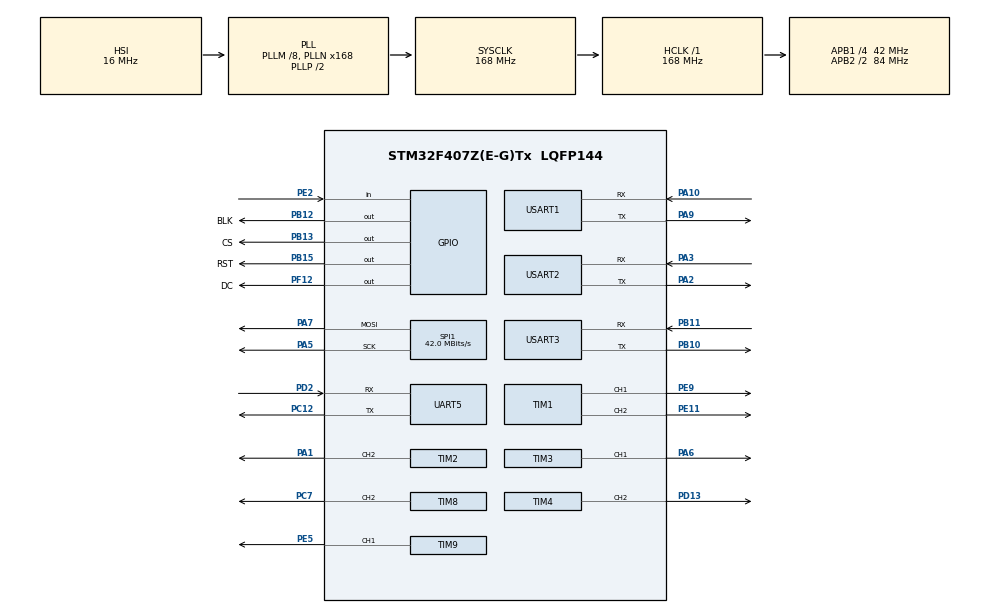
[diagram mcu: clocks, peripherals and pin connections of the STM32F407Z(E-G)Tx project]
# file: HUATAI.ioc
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Dma.Request0=USART1_RX
Dma.Request1=USART1_TX
Dma.USART1_RX.0.Direction=DMA_PERIPH_TO_MEMORY
Dma.USART1_RX.0.FIFOMode=DMA_FIFOMODE_DISABLE
Dma.USART1_RX.0.Instance=DMA2_Stream2
Dma.USART1_RX.0.MemDataAlignment=DMA_MDATAALIGN_BYTE
Dma.USART1_RX.0.MemInc=DMA_MINC_ENABLE
Dma.USART1_RX.0.Mode=DMA_NORMAL
Dma.USART1_RX.0.PeriphDataAlignment=DMA_PDATAALIGN_BYTE
Dma.USART1_RX.0.PeriphInc=DMA_PINC_DISABLE
Dma.USART1_RX.0.Priority=DMA_PRIORITY_HIGH
Dma.USART1_TX.1.Direction=DMA_MEMORY_TO_PERIPH
Dma.USART1_TX.1.FIFOMode=DMA_FIFOMODE_DISABLE
Dma.USART1_TX.1.Instance=DMA2_Stream7
Dma.USART1_TX.1.MemDataAlignment=DMA_MDATAALIGN_BYTE
Dma.USART1_TX.1.MemInc=DMA_MINC_ENABLE
Dma.USART1_TX.1.Mode=DMA_NORMAL
Dma.USART1_TX.1.PeriphDataAlignment=DMA_PDATAALIGN_BYTE
Dma.USART1_TX.1.PeriphInc=DMA_PINC_DISABLE
Dma.USART1_TX.1.Priority=DMA_PRIORITY_HIGH
Mcu.Family=STM32F4
Mcu.Name=STM32F407Z(E-G)Tx
Mcu.Package=LQFP144
NVIC.DMA2_Stream2_IRQn=true\:0\:0\:false\:false\:true\:false\:true\:true
NVIC.DMA2_Stream7_IRQn=true\:0\:0\:false\:false\:true\:false\:true\:true
NVIC.PriorityGroup=NVIC_PRIORITYGROUP_4
NVIC.TIM8_UP_TIM13_IRQn=true\:0\:0\:false\:false\:true\:true\:true\:true
NVIC.USART1_IRQn=true\:0\:0\:false\:false\:true\:true\:true\:true
PA1.Signal=S_TIM2_CH2
PA10.Mode=Asynchronous
PA10.Signal=USART1_RX
PA13.Mode=Serial_Wire
PA13.Signal=SYS_JTMS-SWDIO
PA14.Mode=Serial_Wire
PA14.Signal=SYS_JTCK-SWCLK
PA2.Mode=Asynchronous
PA2.Signal=USART2_TX
PA3.Mode=Asynchronous
PA3.Signal=USART2_RX
PA5.Mode=TX_Only_Simplex_Unidirect_Master
PA5.Signal=SPI1_SCK
PA6.Signal=S_TIM3_CH1
PA7.Mode=TX_Only_Simplex_Unidirect_Master
PA7.Signal=SPI1_MOSI
PA9.Mode=Asynchronous
PA9.Signal=USART1_TX
PB10.Mode=Asynchronous
PB10.Signal=USART3_TX
PB11.Mode=Asynchronous
PB11.Signal=USART3_RX
PB12.GPIO_Label=BLK
PB12.Signal=GPIO_Output
PB13.GPIO_Label=CS
PB13.Signal=GPIO_Output
PB15.GPIO_Label=RST
PB15.Signal=GPIO_Output
PC12.Mode=Asynchronous
PC12.Signal=UART5_TX
PC14-OSC32_IN.Mode=LSE-External-Oscillator
PC14-OSC32_IN.Signal=RCC_OSC32_IN
PC15-OSC32_OUT.Mode=LSE-External-Oscillator
PC15-OSC32_OUT.Signal=RCC_OSC32_OUT
PC7.Signal=S_TIM8_CH2
PD13.Signal=S_TIM4_CH2
PD2.Mode=Asynchronous
PD2.Signal=UART5_RX
PE11.Signal=S_TIM1_CH2
PE2.GPIO_PuPd=GPIO_PULLUP
PE2.Signal=GPIO_Input
PE5.Signal=S_TIM9_CH1
PE9.Signal=S_TIM1_CH1
PF12.GPIO_Label=DC
PF12.Signal=GPIO_Output
PH0-OSC_IN.Mode=HSE-External-Oscillator
PH0-OSC_IN.Signal=RCC_OSC_IN
PH1-OSC_OUT.Mode=HSE-External-Oscillator
PH1-OSC_OUT.Signal=RCC_OSC_OUT
ProjectManager.HeapSize=0x200
ProjectManager.StackSize=0x400
ProjectManager.TargetToolchain=MDK-ARM V5.32
RCC.48MHZClocksFreq_Value=84000000
RCC.AHBFreq_Value=168000000
RCC.APB1CLKDivider=RCC_HCLK_DIV4
RCC.APB1Freq_Value=42000000
RCC.APB1TimFreq_Value=84000000
RCC.APB2CLKDivider=RCC_HCLK_DIV2
RCC.APB2Freq_Value=84000000
RCC.APB2TimFreq_Value=168000000
RCC.CortexFreq_Value=168000000
RCC.HCLKFreq_Value=168000000
RCC.HSE_VALUE=8000000
RCC.HSI_VALUE=16000000
RCC.PLLM=8
RCC.PLLN=168
RCC.SYSCLKFreq_VALUE=168000000
RCC.SYSCLKSource=RCC_SYSCLKSOURCE_PLLCLK
RCC.VCOOutputFreq_Value=336000000
SH.S_TIM1_CH1.0=TIM1_CH1,PWM Generation1 CH1
SH.S_TIM1_CH2.0=TIM1_CH2,PWM Generation2 CH2
SH.S_TIM2_CH2.0=TIM2_CH2,PWM Generation2 CH2
SH.S_TIM3_CH1.0=TIM3_CH1,PWM Generation1 CH1
SH.S_TIM4_CH2.0=TIM4_CH2,PWM Generation2 CH2
SH.S_TIM8_CH2.0=TIM8_CH2,PWM Generation2 CH2
SH.S_TIM9_CH1.0=TIM9_CH1,PWM Generation1 CH1
SPI1.CalculateBaudRate=42.0 MBits/s
SPI1.Direction=SPI_DIRECTION_2LINES
SPI1.Mode=SPI_MODE_MASTER
SPI1.VirtualType=VM_MASTER
TIM1.Channel-PWM\ Generation1\ CH1=TIM_CHANNEL_1
TIM1.Channel-PWM\ Generation2\ CH2=TIM_CHANNEL_2
TIM2.Channel-PWM\ Generation2\ CH2=TIM_CHANNEL_2
TIM3.Channel-PWM\ Generation1\ CH1=TIM_CHANNEL_1
TIM4.Channel-PWM\ Generation2\ CH2=TIM_CHANNEL_2
TIM8.Channel-PWM\ Generation2\ CH2=TIM_CHANNEL_2
TIM9.Channel-PWM\ Generation1\ CH1=TIM_CHANNEL_1
UART5.VirtualMode=Asynchronous
USART1.VirtualMode=VM_ASYNC
USART2.VirtualMode=VM_ASYNC
USART3.VirtualMode=VM_ASYNC
VP_TIM13_VS_ClockSourceINT.Mode=Enable_Timer
VP_TIM2_VS_ClockSourceINT.Mode=Internal
VP_TIM4_VS_ClockSourceINT.Mode=Internal
VP_TIM8_VS_ClockSourceINT.Mode=Internal
board=custom

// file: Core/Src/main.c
/* USER CODE BEGIN Header */
/**
  ******************************************************************************
  * @file           : main.c
  * @brief          : Main program body
  ******************************************************************************
  * @attention
  *
  * Copyright (c) 2026 STMicroelectronics.
  * All rights reserved.
  *
  * This software is licensed under terms that can be found in the LICENSE file
  * in the root directory of this software component.
  * If no LICENSE file comes with this software, it is provided AS-IS.
  *
  ******************************************************************************
  */
/* USER CODE END Header */
#include "main.h"
#include "dma.h"
#include "spi.h"
#include "tim.h"
#include "usart.h"
#include "gpio.h"

/* USER CODE BEGIN Includes */
#include "app_controller.h"
#include "app_runtime.h"
#include "app_display.h"
#include "app_mode.h"
#include "board_io.h"
#include "shell_port.h"
#include "xy_stage.h"
#include "tray_motor.h"
#include "vacuum.h"
#include "aux_servo.h"
#include "hmi_link.h"
/* USER CODE END Includes */

void SystemClock_Config(void);

int main(void)
{

  /* MCU Configuration--------------------------------------------------------*/

  /* Reset of all peripherals, Initializes the Flash interface and the Systick. */
  HAL_Init();

  /* Configure the system clock */
  SystemClock_Config();

  /* USER CODE BEGIN SysInit */
  BoardIO_Init();
  AppMode_SelectAtBoot();
/* USER CODE END SysInit */

  /* Initialize all configured peripherals */
  MX_GPIO_Init();
  MX_DMA_Init();
  MX_SPI1_Init();
  MX_TIM1_Init();
  MX_USART1_UART_Init();
  MX_TIM3_Init();
  MX_USART2_UART_Init();
  MX_USART3_UART_Init();
  MX_TIM2_Init();
  MX_TIM4_Init();
  MX_TIM8_Init();
  MX_TIM9_Init();
  MX_TIM13_Init();
  MX_UART5_Init();
  /* USER CODE BEGIN 2 */
  __HAL_UART_CLEAR_IDLEFLAG(&huart1);
  __HAL_UART_ENABLE_IT(&huart1, UART_IT_IDLE);
  UART_RxQueueReset();
  HAL_UART_Receive_DMA(&huart1, (uint8_t *)rxDmaBuffer, CMD_LEN);
  AppDisplay_Init();
  HMI_LinkInit();
  XY_SetPositionCallback(AppDisplay_SetPosition);
  Vacuum_SetStatusCallback(AppDisplay_SetVacuumState);
  Vacuum_Init();
  AuxServo_Init();
  if (XY_Init() == XY_RESULT_OK) { (void)XY_SetZero(); }
  (void)Tray_Init();
  if (!XY_IsOriginValid()) { AppDisplay_SetCommand(XY_GetDiagnosticText()); }
  else if (!Tray_IsOriginValid()) { AppDisplay_SetCommand(Tray_GetDiagnosticText()); }
  AppController_Init();
  if (AppMode_Get() == APP_MODE_DEBUG) { ShellPort_Init(); }
/* USER CODE END 2 */

  /* Infinite loop */
  while (1)
  {

    /* USER CODE BEGIN 3 */
    if (AppMode_Get() == APP_MODE_HOST) { AppController_Poll(); }
    else { ShellPort_Poll(); }
    AppRuntime_Service();
  }
/* USER CODE END 3 */
}

void SystemClock_Config(void)
{
  RCC_OscInitTypeDef RCC_OscInitStruct = {0};
  RCC_ClkInitTypeDef RCC_ClkInitStruct = {0};

  /** Configure the main internal regulator output voltage
  */
  __HAL_RCC_PWR_CLK_ENABLE();
  __HAL_PWR_VOLTAGESCALING_CONFIG(PWR_REGULATOR_VOLTAGE_SCALE1);

  /** Initializes the RCC Oscillators according to the specified parameters
  * in the RCC_OscInitTypeDef structure.
  */
  RCC_OscInitStruct.OscillatorType = RCC_OSCILLATORTYPE_HSI;
  RCC_OscInitStruct.HSIState = RCC_HSI_ON;
  RCC_OscInitStruct.HSICalibrationValue = RCC_HSICALIBRATION_DEFAULT;
  RCC_OscInitStruct.PLL.PLLState = RCC_PLL_ON;
  RCC_OscInitStruct.PLL.PLLSource = RCC_PLLSOURCE_HSI;
  RCC_OscInitStruct.PLL.PLLM = 8;
  RCC_OscInitStruct.PLL.PLLN = 168;
  RCC_OscInitStruct.PLL.PLLP = RCC_PLLP_DIV2;
  RCC_OscInitStruct.PLL.PLLQ = 4;
  if (HAL_RCC_OscConfig(&RCC_OscInitStruct) != HAL_OK)
  {
    Error_Handler();
  }

  /** Initializes the CPU, AHB and APB buses clocks
  */
  RCC_ClkInitStruct.ClockType = RCC_CLOCKTYPE_HCLK|RCC_CLOCKTYPE_SYSCLK
                              |RCC_CLOCKTYPE_PCLK1|RCC_CLOCKTYPE_PCLK2;
  RCC_ClkInitStruct.SYSCLKSource = RCC_SYSCLKSOURCE_PLLCLK;
  RCC_ClkInitStruct.AHBCLKDivider = RCC_SYSCLK_DIV1;
  RCC_ClkInitStruct.APB1CLKDivider = RCC_HCLK_DIV4;
  RCC_ClkInitStruct.APB2CLKDivider = RCC_HCLK_DIV2;

  if (HAL_RCC_ClockConfig(&RCC_ClkInitStruct, FLASH_LATENCY_5) != HAL_OK)
  {
    Error_Handler();
  }
}

void Error_Handler(void)
{
  __disable_irq();
  while (1)
  {
  }
}
